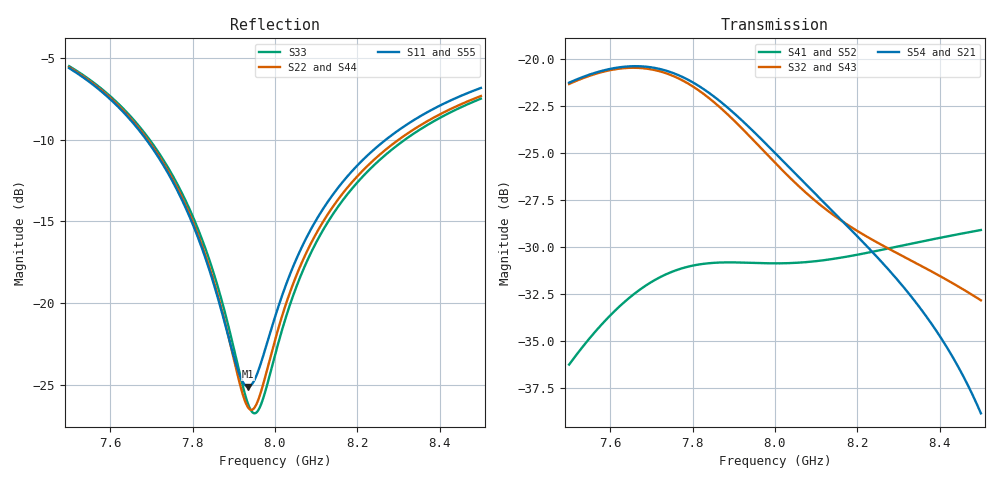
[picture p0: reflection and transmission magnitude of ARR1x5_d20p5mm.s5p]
! Touchstone file exported from HFSS 2025.1.0
!  File:  C:/Users/user/Documents/Ansoft/TFG_UWB-MIMO-Array.aedt
!  Generated:  06:37:38 PM Nov 20, 2026
!  Design:  ARR1x5_P01_MS2_dparam
!  Project:  TFG_UWB-MIMO-Array
!  Setup:  Setup_ch9
!  Solution:  Sweep_7p5_8p5
! Variables:
!  arr_d = 20.5mm
!  board_m = 13mm
!  board_x = 108mm
!  board_y = 26mm
!  cu_t = 0.035mm
!  line_w = 3.92mm
!  pad_xy = 22mm
!  pad_zn = 25mm
!  pad_zp = 33mm
!  patch_L = 7.322mm
!  patch_W = 11.421266mm
!  sub_h = 2.07mm
!  tr_l = 7.1mm
!  tr_w = 0.8mm
# GHz S MA R 50.000000
! Terminal data exported
! Port[1] = P1
! Port[2] = P2
! Port[3] = P3
! Port[4] = P4
! Port[5] = P5
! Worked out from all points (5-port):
!   1001 points, 7.5 GHz to 8.5 GHz, reference 50 ohm
!   strongest paths, dB at 7.5 GHz, 7.75 GHz, 8 GHz, 8.25 GHz, 8.5 GHz:
!     S54: -21.3, -20.7, -25.0, -30.6, -38.8
!     S21: -21.2, -20.7, -25.0, -30.7, -39.0
!     S32: -21.3, -20.9, -25.5, -29.8, -32.8
!     S43: -21.4, -21.0, -25.8, -30.1, -32.8
!     S41: -36.2, -31.3, -30.9, -30.2, -29.1
!     S52: -36.3, -31.4, -31.0, -30.3, -29.2
!   lowest |S11| = -25.1 dB at 7.935 GHz (marker M1), VSWR 1.12, Z = 55.6 + j1.82 ohm
!   |S11| at or under -10 dB: 7.687 GHz to 8.269 GHz (582 MHz wide, 7.29 % of centre)
